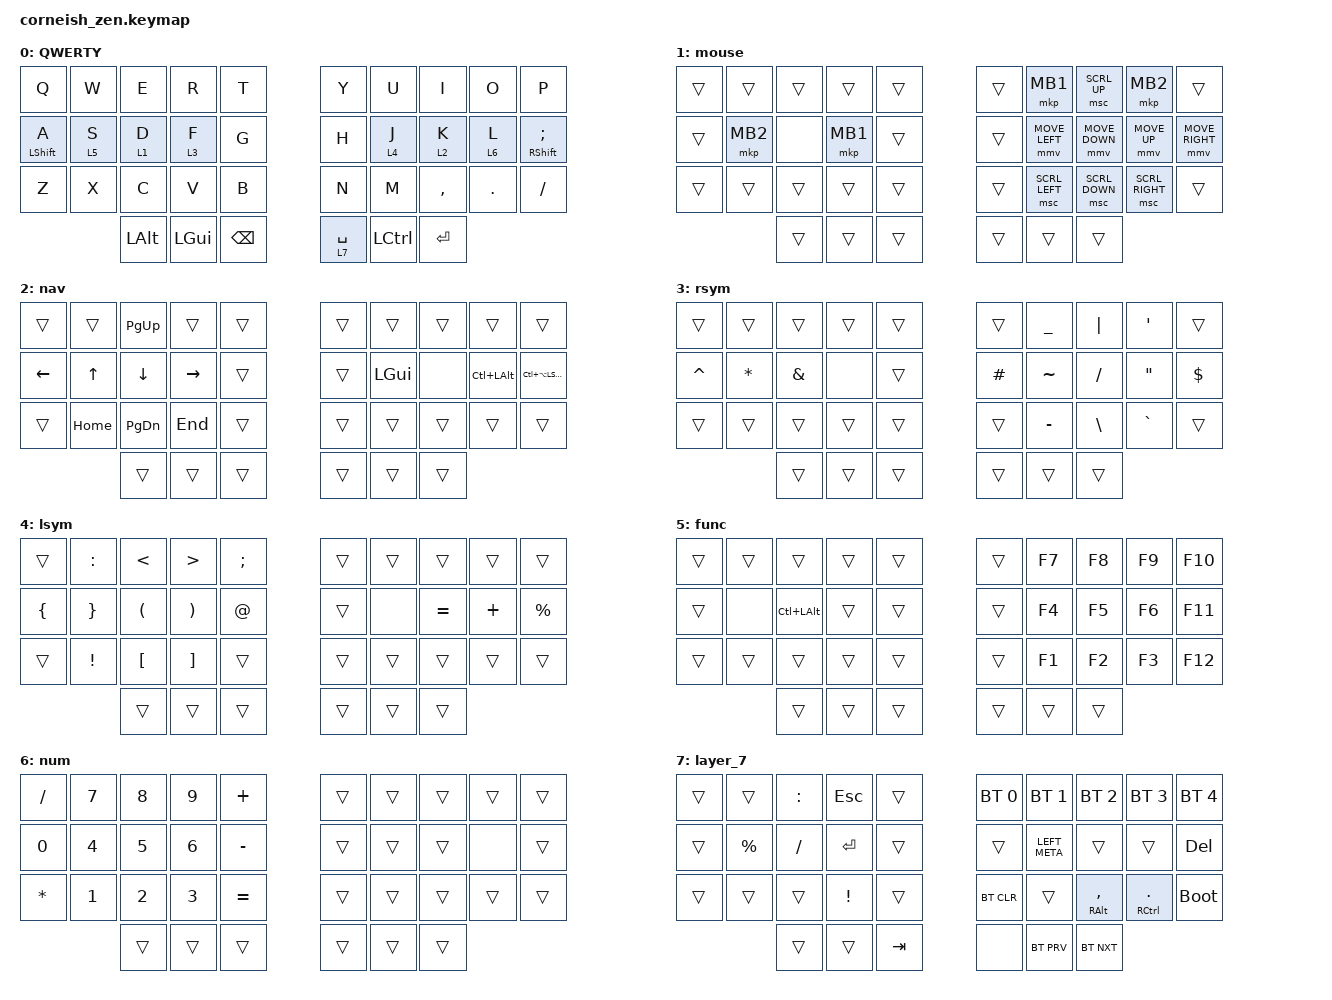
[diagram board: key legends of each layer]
/*
*
* Copyright (c) 2021 Darryl deHaan
* SPDX-License-Identifier: MIT
*
*/
/*
* Mapped using https://nickcoutsos.github.io/keymap-editor/
*/

#include <behaviors.dtsi>
#include <dt-bindings/zmk/bt.h>
#include <dt-bindings/zmk/keys.h>
#include <dt-bindings/zmk/pointing.h>

&mt { tapping-term-ms = <100>; };

/ {
    chosen {
        // zmk,physical-layout = &foostan_corne_6col_layout;
        zmk,physical-layout = &foostan_corne_5col_layout;
    };
};

#define LEFT_KEYS 0 1 2 3 4 10 11 12 13 14 20 21 22 23 24
#define RIGHT_KEYS 5 6 7 8 9 15 16 17 18 19 25 26 27 28 29 21 22 23 // include cut/copy/paste so those remain fast
#define THUMB_KEYS 30 31 32 33 34 35

/ {
    behaviors {
        lhs: left_homerow_shift {
            compatible = "zmk,behavior-hold-tap";
            label = "LEFT_HOMEROW_SHIFT";
            #binding-cells = <2>;
            flavor = "tap-preferred";
            tapping-term-ms = <150>;
            quick-tap-ms = <0>;
            bindings = <&kp>, <&kp>;

            hold-trigger-key-positions = <RIGHT_KEYS THUMB_KEYS>;
            hold-trigger-on-release;
        };

        rhs: right_homerow_shift {
            compatible = "zmk,behavior-hold-tap";
            label = "RIGHT_HOMEROW_SHIFT";
            #binding-cells = <2>;
            flavor = "tap-preferred";
            tapping-term-ms = <150>;
            quick-tap-ms = <0>;
            bindings = <&kp>, <&kp>;

            hold-trigger-key-positions = <LEFT_KEYS THUMB_KEYS>;
            hold-trigger-on-release;
        };
    };

    combos {
        compatible = "zmk,combos";

        combo_backspace {
            timeout-ms = <50>;
            key-positions = <18 19>;
            bindings = <&kp BSPC>;
        };
        combo_enter {
            timeout-ms = <50>;
            key-positions = <12 13>;
            bindings = <&kp RET>;
        };
        combo_tab {
            timeout-ms = <50>;
            key-positions = <10 11>;
            bindings = <&kp TAB>;
        };
        combo_esc {
            timeout-ms = <50>;
            key-positions = <0 1>;
            bindings = <&kp ESC>;
        };
        combo_jkesc {
            timeout-ms = <50>;
            key-positions = <16 17>;
            bindings = <&kp ESC>;
        };
    };

    keymap {
        compatible = "zmk,keymap";

        default_layer {
            display-name = "QWERTY";

            // --------------------------------------------------------------------------------
            // |  TAB |  Q  |  W  |  E  |  R  |  T  |   |  Y  |  U   |  I  |  O  |  P  | BSPC |
            // | CTRL |  A  |  S  |  D  |  F  |  G  |   |  H  |  J   |  K  |  L  |  ;  |  '   |
            // | SHFT |  Z  |  X  |  C  |  V  |  B  |   |  N  |  M   |  ,  |  .  |  /  | ESC  |
            //                    | GUI | LWR | SPC |   | ENT | RSE  | ALT |

            bindings = <
  &kp Q         &kp W    &kp E             &kp R         &kp T       &kp Y        &kp U         &kp I      &kp O    &kp P
  &lhs LSHFT A  &lt 5 S  &lt 1 D           &lt 3 F       &kp G       &kp H        &lt 4 J       &lt 2 K    &lt 6 L  &rhs RSHFT SEMICOLON
  &kp Z         &kp X    &kp C             &kp V         &kp B       &kp N        &kp M         &kp COMMA  &kp DOT  &kp FSLH
                         &kp LEFT_ALT  &kp LEFT_GUI  &kp BSPC    &lt 7 SPACE  &kp LEFT_CONTROL  &kp RET
            >;
        };

        mouse {
            bindings = <
  &trans  &trans    &trans  &trans    &trans    &trans  &mkp MB1        &msc SCRL_UP    &mkp MB2         &trans
  &trans  &mkp MB2  &none   &mkp MB1  &trans    &trans  &mmv MOVE_LEFT  &mmv MOVE_DOWN  &mmv MOVE_UP     &mmv MOVE_RIGHT
  &trans  &trans    &trans  &trans    &trans    &trans  &msc SCRL_LEFT  &msc SCRL_DOWN  &msc SCRL_RIGHT  &trans
                    &trans  &trans    &trans    &trans  &trans          &trans
            >;
        };

        nav {
            bindings = <
  &trans    &trans    &kp PG_UP  &trans     &trans    &trans  &trans        &trans  &trans        &trans
  &kp LEFT  &kp UP    &kp DOWN   &kp RIGHT  &trans    &trans  &kp LEFT_GUI  &none   &kp LC(LALT)  &kp LC(LA(LSHFT))
  &trans    &kp HOME  &kp PG_DN  &kp END    &trans    &trans  &trans        &trans  &trans        &trans
                      &trans     &trans     &trans    &trans  &trans        &trans
            >;
        };

        rsym {
            bindings = <
  &trans     &trans    &trans    &trans  &trans    &trans    &kp UNDER  &kp PIPE  &kp SINGLE_QUOTE   &trans
  &kp CARET  &kp STAR  &kp AMPS  &none   &trans    &kp HASH  &kp TILDE  &kp FSLH  &kp DOUBLE_QUOTES  &kp DOLLAR
  &trans     &trans    &trans    &trans  &trans    &trans    &kp MINUS  &kp BSLH  &kp GRAVE          &trans
                       &trans    &trans  &trans    &trans    &trans     &trans
            >;
        };

        lsym {
            bindings = <
  &trans    &kp COLON  &kp LT    &kp GREATER_THAN  &kp SEMI    &trans  &trans  &trans     &trans    &trans
  &kp LBRC  &kp RBRC   &kp LPAR  &kp RPAR          &kp AT      &trans  &none   &kp EQUAL  &kp PLUS  &kp PERCENT
  &trans    &kp EXCL   &kp LBKT  &kp RBKT          &trans      &trans  &trans  &trans     &trans    &trans
                       &trans    &trans            &trans      &trans  &trans  &trans
            >;
        };

        func {
            bindings = <
  &trans  &trans  &trans        &trans  &trans    &trans  &kp F7  &kp F8  &kp F9  &kp F10
  &trans  &none   &kp LC(LALT)  &trans  &trans    &trans  &kp F4  &kp F5  &kp F6  &kp F11
  &trans  &trans  &trans        &trans  &trans    &trans  &kp F1  &kp F2  &kp F3  &kp F12
                  &trans        &trans  &trans    &trans  &trans  &trans
            >;
        };

        num {
            bindings = <
  &kp FSLH  &kp N7  &kp N8  &kp N9  &kp PLUS     &trans  &trans  &trans  &trans  &trans
  &kp N0    &kp N4  &kp N5  &kp N6  &kp MINUS    &trans  &trans  &trans  &none   &trans
  &kp STAR  &kp N1  &kp N2  &kp N3  &kp EQUAL    &trans  &trans  &trans  &trans  &trans
                    &trans  &trans  &trans       &trans  &trans  &trans
            >;
        };

        layer_7 {
            bindings = <
  &trans  &trans     &kp COLON  &kp ESC    &trans     &bt BT_SEL 0      &bt BT_SEL 1         &bt BT_SEL 2          &bt BT_SEL 3         &bt BT_SEL 4
  &trans  &kp PRCNT  &kp FSLH   &kp ENTER  &trans     &trans      &kp LEFT_META  &trans          &trans         &kp DELETE
  &trans  &trans     &trans     &kp EXCL   &trans     &bt BT_CLR  &trans         &mt RALT COMMA  &mt RCTRL DOT  &bootloader
                     &trans     &trans     &kp TAB    &none       &bt BT_PRV     &bt BT_NXT
            >;
        };
    };
};
